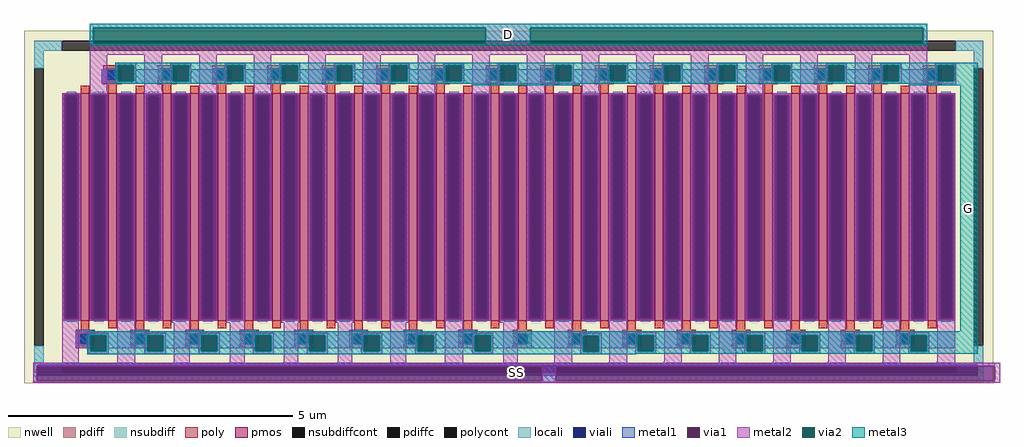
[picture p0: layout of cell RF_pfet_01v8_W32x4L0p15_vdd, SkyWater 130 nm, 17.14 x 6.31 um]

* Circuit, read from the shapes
.subckt RF_pfet_01v8_W32x4L0p15_vdd D G SS
XM1 D G SS SS sky130_fd_pr__pfet_01v8 w=4 l=0.15 m=32
.ends

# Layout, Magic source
magic
tech sky130B
magscale 1 2
<< locali >>
rect 33 -538 3371 -528
rect 33 -572 46 -538
rect 3351 -572 3371 -538
rect 33 -597 3371 -572
<< viali >>
rect 46 -572 3351 -538
<< metal1 >>
rect 321 517 395 526
rect 321 502 330 517
rect 273 461 330 502
rect 386 502 395 517
rect 516 517 584 523
rect 516 502 522 517
rect 386 461 522 502
rect 578 502 584 517
rect 708 517 776 523
rect 708 502 714 517
rect 578 461 714 502
rect 770 502 776 517
rect 900 517 968 523
rect 900 502 906 517
rect 770 461 906 502
rect 962 502 968 517
rect 1092 517 1160 523
rect 1092 502 1098 517
rect 962 461 1098 502
rect 1154 502 1160 517
rect 1284 517 1352 523
rect 1284 502 1290 517
rect 1154 461 1290 502
rect 1346 502 1352 517
rect 1476 517 1544 523
rect 1476 502 1482 517
rect 1346 461 1482 502
rect 1538 502 1544 517
rect 1668 517 1736 523
rect 1668 502 1674 517
rect 1538 461 1674 502
rect 1730 502 1736 517
rect 1857 517 1931 526
rect 1857 502 1866 517
rect 1730 461 1866 502
rect 1922 502 1931 517
rect 2052 517 2120 523
rect 2052 502 2058 517
rect 1922 461 2058 502
rect 2114 502 2120 517
rect 2244 517 2312 523
rect 2244 502 2250 517
rect 2114 461 2250 502
rect 2306 502 2312 517
rect 2436 517 2504 523
rect 2436 502 2442 517
rect 2306 461 2442 502
rect 2498 502 2504 517
rect 2628 517 2696 523
rect 2628 502 2634 517
rect 2498 461 2634 502
rect 2690 502 2696 517
rect 2820 517 2888 523
rect 2820 502 2826 517
rect 2690 461 2826 502
rect 2882 502 2888 517
rect 3012 517 3080 523
rect 3012 502 3018 517
rect 2882 461 3018 502
rect 3074 502 3080 517
rect 3204 517 3272 523
rect 3204 502 3210 517
rect 3074 461 3210 502
rect 3266 461 3272 517
rect 273 452 3229 461
rect 282 451 340 452
rect 474 451 532 452
rect 666 451 724 452
rect 858 451 916 452
rect 1050 451 1108 452
rect 1242 451 1300 452
rect 1434 451 1492 452
rect 1626 451 1684 452
rect 1818 451 1876 452
rect 2010 451 2068 452
rect 2202 451 2260 452
rect 2394 451 2452 452
rect 2586 451 2644 452
rect 2778 451 2836 452
rect 2970 451 3028 452
rect 3162 451 3220 452
rect 135 413 199 419
rect 135 -375 141 413
rect 193 -375 199 413
rect 135 -381 199 -375
rect 231 413 295 419
rect 231 -375 237 413
rect 289 -375 295 413
rect 231 -381 295 -375
rect 327 413 391 419
rect 327 -375 333 413
rect 385 -375 391 413
rect 327 -381 391 -375
rect 423 413 487 419
rect 423 -375 429 413
rect 481 -375 487 413
rect 423 -381 487 -375
rect 519 413 583 419
rect 519 -375 525 413
rect 577 -375 583 413
rect 519 -381 583 -375
rect 615 413 679 419
rect 615 -375 621 413
rect 673 -375 679 413
rect 615 -381 679 -375
rect 711 413 775 419
rect 711 -375 717 413
rect 769 -375 775 413
rect 711 -381 775 -375
rect 807 413 871 419
rect 807 -375 813 413
rect 865 -375 871 413
rect 807 -381 871 -375
rect 903 413 967 419
rect 903 -375 909 413
rect 961 -375 967 413
rect 903 -381 967 -375
rect 999 413 1063 419
rect 999 -375 1005 413
rect 1057 -375 1063 413
rect 999 -381 1063 -375
rect 1095 413 1159 419
rect 1095 -375 1101 413
rect 1153 -375 1159 413
rect 1095 -381 1159 -375
rect 1191 413 1255 419
rect 1191 -375 1197 413
rect 1249 -375 1255 413
rect 1191 -381 1255 -375
rect 1287 413 1351 419
rect 1287 -375 1293 413
rect 1345 -375 1351 413
rect 1287 -381 1351 -375
rect 1383 413 1447 419
rect 1383 -375 1389 413
rect 1441 -375 1447 413
rect 1383 -381 1447 -375
rect 1479 413 1543 419
rect 1479 -375 1485 413
rect 1537 -375 1543 413
rect 1479 -381 1543 -375
rect 1575 413 1639 419
rect 1575 -375 1581 413
rect 1633 -375 1639 413
rect 1575 -381 1639 -375
rect 1671 413 1735 419
rect 1671 -375 1677 413
rect 1729 -375 1735 413
rect 1671 -381 1735 -375
rect 1767 413 1831 419
rect 1767 -375 1773 413
rect 1825 -375 1831 413
rect 1767 -381 1831 -375
rect 1863 413 1927 419
rect 1863 -375 1869 413
rect 1921 -375 1927 413
rect 1863 -381 1927 -375
rect 1959 412 2023 419
rect 1959 -376 1965 412
rect 2017 -376 2023 412
rect 1959 -382 2023 -376
rect 2055 413 2119 419
rect 2055 -375 2061 413
rect 2113 -375 2119 413
rect 2055 -381 2119 -375
rect 2151 413 2215 419
rect 2151 -375 2157 413
rect 2209 -375 2215 413
rect 2151 -381 2215 -375
rect 2247 413 2311 419
rect 2247 -375 2253 413
rect 2305 -375 2311 413
rect 2247 -381 2311 -375
rect 2343 413 2407 419
rect 2343 -375 2349 413
rect 2401 -375 2407 413
rect 2343 -381 2407 -375
rect 2439 413 2503 419
rect 2439 -375 2445 413
rect 2497 -375 2503 413
rect 2439 -381 2503 -375
rect 2534 413 2598 419
rect 2534 -375 2540 413
rect 2592 -375 2598 413
rect 2534 -381 2598 -375
rect 2631 412 2695 419
rect 2631 -376 2637 412
rect 2689 -376 2695 412
rect 2631 -381 2695 -376
rect 2727 413 2791 419
rect 2727 -375 2733 413
rect 2785 -375 2791 413
rect 2727 -381 2791 -375
rect 2823 413 2887 419
rect 2823 -375 2829 413
rect 2881 -375 2887 413
rect 2823 -381 2887 -375
rect 2919 413 2983 419
rect 2919 -375 2925 413
rect 2977 -375 2983 413
rect 2919 -381 2983 -375
rect 3015 413 3079 419
rect 3015 -375 3021 413
rect 3073 -375 3079 413
rect 3015 -381 3079 -375
rect 3111 413 3175 419
rect 3111 -375 3117 413
rect 3169 -375 3175 413
rect 3111 -381 3175 -375
rect 3207 413 3271 419
rect 3207 -375 3213 413
rect 3265 -375 3271 413
rect 3207 -381 3271 -375
rect 186 -418 244 -413
rect 378 -418 436 -413
rect 570 -418 628 -413
rect 762 -418 820 -413
rect 954 -418 1012 -413
rect 1146 -418 1204 -413
rect 1338 -418 1396 -413
rect 1530 -418 1588 -413
rect 2121 -418 3271 -417
rect 182 -432 3271 -418
rect 182 -478 233 -432
rect 223 -488 233 -478
rect 289 -478 433 -432
rect 289 -488 298 -478
rect 423 -488 433 -478
rect 489 -478 623 -432
rect 489 -488 498 -478
rect 613 -488 623 -478
rect 679 -478 813 -432
rect 679 -488 688 -478
rect 803 -488 813 -478
rect 869 -478 1003 -432
rect 869 -488 878 -478
rect 993 -488 1003 -478
rect 1059 -478 1193 -432
rect 1059 -488 1068 -478
rect 1183 -488 1193 -478
rect 1249 -478 1383 -432
rect 1249 -488 1258 -478
rect 1373 -488 1383 -478
rect 1439 -478 1583 -432
rect 1439 -488 1448 -478
rect 1573 -488 1583 -478
rect 1639 -433 2156 -432
rect 1639 -478 1964 -433
rect 1639 -488 1648 -478
rect 224 -497 298 -488
rect 424 -497 498 -488
rect 614 -497 688 -488
rect 804 -497 878 -488
rect 994 -497 1068 -488
rect 1184 -497 1258 -488
rect 1374 -497 1448 -488
rect 1574 -497 1648 -488
rect 1955 -489 1964 -478
rect 2020 -478 2156 -433
rect 2020 -489 2029 -478
rect 1955 -498 2029 -489
rect 2147 -488 2156 -478
rect 2212 -478 2348 -432
rect 2212 -488 2221 -478
rect 2147 -497 2221 -488
rect 2339 -488 2348 -478
rect 2404 -478 2539 -432
rect 2404 -488 2413 -478
rect 2339 -497 2413 -488
rect 2459 -488 2539 -478
rect 2595 -478 2732 -432
rect 2595 -488 2604 -478
rect 2459 -497 2604 -488
rect 2678 -488 2732 -478
rect 2788 -478 2924 -432
rect 2788 -488 2797 -478
rect 2678 -497 2797 -488
rect 2825 -488 2924 -478
rect 2980 -478 3116 -432
rect 2980 -488 2989 -478
rect 2825 -497 2989 -488
rect 3107 -488 3116 -478
rect 3172 -477 3271 -432
rect 3172 -478 3266 -477
rect 3172 -488 3181 -478
rect 3107 -497 3181 -488
rect 33 -538 3411 -528
rect 33 -540 46 -538
rect 3351 -540 3411 -538
rect 33 -592 45 -540
rect 1821 -592 1869 -572
rect 33 -598 3411 -592
<< via1 >>
rect 330 461 386 517
rect 522 461 578 517
rect 714 461 770 517
rect 906 461 962 517
rect 1098 461 1154 517
rect 1290 461 1346 517
rect 1482 461 1538 517
rect 1674 461 1730 517
rect 1866 461 1922 517
rect 2058 461 2114 517
rect 2250 461 2306 517
rect 2442 461 2498 517
rect 2634 461 2690 517
rect 2826 461 2882 517
rect 3018 461 3074 517
rect 3210 461 3266 517
rect 141 -375 193 413
rect 237 -375 289 413
rect 333 -375 385 413
rect 429 -375 481 413
rect 525 -375 577 413
rect 621 -375 673 413
rect 717 -375 769 413
rect 813 -375 865 413
rect 909 -375 961 413
rect 1005 -375 1057 413
rect 1101 -375 1153 413
rect 1197 -375 1249 413
rect 1293 -375 1345 413
rect 1389 -375 1441 413
rect 1485 -375 1537 413
rect 1581 -375 1633 413
rect 1677 -375 1729 413
rect 1773 -375 1825 413
rect 1869 -375 1921 413
rect 1965 -376 2017 412
rect 2061 -375 2113 413
rect 2157 -375 2209 413
rect 2253 -375 2305 413
rect 2349 -375 2401 413
rect 2445 -375 2497 413
rect 2540 -375 2592 413
rect 2637 -376 2689 412
rect 2733 -375 2785 413
rect 2829 -375 2881 413
rect 2925 -375 2977 413
rect 3021 -375 3073 413
rect 3117 -375 3169 413
rect 3213 -375 3265 413
rect 233 -488 289 -432
rect 433 -488 489 -432
rect 623 -488 679 -432
rect 813 -488 869 -432
rect 1003 -488 1059 -432
rect 1193 -488 1249 -432
rect 1383 -488 1439 -432
rect 1583 -488 1639 -432
rect 1964 -489 2020 -433
rect 2156 -488 2212 -432
rect 2348 -488 2404 -432
rect 2539 -488 2595 -432
rect 2732 -488 2788 -432
rect 2924 -488 2980 -432
rect 3116 -488 3172 -432
rect 45 -572 46 -540
rect 46 -572 1821 -540
rect 1869 -572 3351 -540
rect 3351 -572 3411 -540
rect 45 -592 1821 -572
rect 1869 -592 3411 -572
<< metal2 >>
rect 231 648 3173 662
rect 231 592 243 648
rect 1623 592 1779 648
rect 3159 592 3173 648
rect 231 554 3173 592
rect 231 424 293 554
rect 321 517 395 526
rect 321 461 330 517
rect 386 461 395 517
rect 321 452 395 461
rect 423 424 485 554
rect 513 517 587 526
rect 513 461 522 517
rect 578 461 587 517
rect 513 452 587 461
rect 615 424 677 554
rect 705 517 779 526
rect 705 461 714 517
rect 770 461 779 517
rect 705 452 779 461
rect 807 424 869 554
rect 897 517 971 526
rect 897 461 906 517
rect 962 461 971 517
rect 897 452 971 461
rect 999 424 1061 554
rect 1089 517 1163 526
rect 1089 461 1098 517
rect 1154 461 1163 517
rect 1089 452 1163 461
rect 1191 424 1253 554
rect 1281 517 1355 526
rect 1281 461 1290 517
rect 1346 461 1355 517
rect 1281 452 1355 461
rect 1383 424 1445 554
rect 1473 517 1547 526
rect 1473 461 1482 517
rect 1538 461 1547 517
rect 1473 452 1547 461
rect 135 413 199 419
rect 135 -375 141 413
rect 193 -375 199 413
rect 135 -381 199 -375
rect 231 413 295 424
rect 231 -375 237 413
rect 289 -375 295 413
rect 231 -381 295 -375
rect 327 413 391 419
rect 327 -375 333 413
rect 385 -375 391 413
rect 135 -528 193 -381
rect 224 -432 298 -423
rect 224 -488 233 -432
rect 289 -488 298 -432
rect 224 -497 298 -488
rect 327 -528 391 -375
rect 423 413 487 424
rect 423 -375 429 413
rect 481 -375 487 413
rect 423 -381 487 -375
rect 519 413 583 419
rect 519 -375 525 413
rect 577 -375 583 413
rect 519 -388 583 -375
rect 615 413 679 424
rect 615 -375 621 413
rect 673 -375 679 413
rect 615 -381 679 -375
rect 711 413 775 419
rect 711 -375 717 413
rect 769 -375 775 413
rect 711 -388 775 -375
rect 807 413 871 424
rect 807 -375 813 413
rect 865 -375 871 413
rect 807 -381 871 -375
rect 903 413 967 419
rect 903 -375 909 413
rect 961 -375 967 413
rect 903 -388 967 -375
rect 999 413 1063 424
rect 999 -375 1005 413
rect 1057 -375 1063 413
rect 999 -381 1063 -375
rect 1095 413 1159 419
rect 1095 -375 1101 413
rect 1153 -375 1159 413
rect 1095 -388 1159 -375
rect 1191 413 1255 424
rect 1191 -375 1197 413
rect 1249 -375 1255 413
rect 1191 -381 1255 -375
rect 1287 413 1351 419
rect 1287 -375 1293 413
rect 1345 -375 1351 413
rect 1287 -388 1351 -375
rect 1383 413 1447 424
rect 1575 419 1637 554
rect 1665 517 1739 526
rect 1665 461 1674 517
rect 1730 461 1739 517
rect 1665 452 1739 461
rect 1767 424 1829 554
rect 1857 517 1931 526
rect 1857 461 1866 517
rect 1922 461 1931 517
rect 1857 452 1931 461
rect 1959 424 2021 554
rect 2049 517 2123 526
rect 2049 461 2058 517
rect 2114 461 2123 517
rect 2049 452 2123 461
rect 2151 424 2213 554
rect 2241 517 2315 526
rect 2241 461 2250 517
rect 2306 461 2315 517
rect 2241 452 2315 461
rect 2343 424 2405 554
rect 2433 517 2507 526
rect 2433 461 2442 517
rect 2498 461 2507 517
rect 2433 452 2507 461
rect 2535 424 2597 554
rect 2625 517 2699 526
rect 2625 461 2634 517
rect 2690 461 2699 517
rect 2625 452 2699 461
rect 2727 424 2789 554
rect 2817 517 2891 526
rect 2817 461 2826 517
rect 2882 461 2891 517
rect 2817 452 2891 461
rect 2919 424 2981 554
rect 3009 517 3083 526
rect 3009 461 3018 517
rect 3074 461 3083 517
rect 3009 452 3083 461
rect 1383 -375 1389 413
rect 1441 -375 1447 413
rect 1383 -381 1447 -375
rect 1479 413 1543 419
rect 1479 -375 1485 413
rect 1537 -375 1543 413
rect 424 -432 498 -423
rect 424 -488 433 -432
rect 489 -488 498 -432
rect 424 -497 498 -488
rect 526 -528 583 -388
rect 614 -432 688 -423
rect 614 -488 623 -432
rect 679 -488 688 -432
rect 614 -497 688 -488
rect 723 -528 775 -388
rect 804 -432 878 -423
rect 804 -488 813 -432
rect 869 -488 878 -432
rect 804 -497 878 -488
rect 913 -528 963 -388
rect 994 -432 1068 -423
rect 994 -488 1003 -432
rect 1059 -488 1068 -432
rect 994 -497 1068 -488
rect 1103 -528 1153 -388
rect 1184 -432 1258 -423
rect 1184 -488 1193 -432
rect 1249 -488 1258 -432
rect 1184 -497 1258 -488
rect 1287 -528 1343 -388
rect 1374 -432 1448 -423
rect 1374 -488 1383 -432
rect 1439 -488 1448 -432
rect 1374 -497 1448 -488
rect 1479 -528 1543 -375
rect 1575 413 1639 419
rect 1575 -375 1581 413
rect 1633 -375 1639 413
rect 1575 -381 1639 -375
rect 1671 413 1735 419
rect 1671 -375 1677 413
rect 1729 -375 1735 413
rect 1671 -388 1735 -375
rect 1767 413 1831 424
rect 1767 -375 1773 413
rect 1825 -375 1831 413
rect 1767 -381 1831 -375
rect 1863 413 1927 419
rect 1863 -375 1869 413
rect 1921 -375 1927 413
rect 1574 -432 1648 -423
rect 1574 -488 1583 -432
rect 1639 -488 1648 -432
rect 1574 -497 1648 -488
rect 1683 -528 1735 -388
rect 1863 -528 1927 -375
rect 1959 412 2023 424
rect 1959 -376 1965 412
rect 2017 -376 2023 412
rect 1959 -382 2023 -376
rect 2055 413 2119 419
rect 2055 -375 2061 413
rect 2113 -375 2119 413
rect 2055 -395 2119 -375
rect 2151 413 2215 424
rect 2151 -375 2157 413
rect 2209 -375 2215 413
rect 2151 -381 2215 -375
rect 2247 413 2311 419
rect 2247 -375 2253 413
rect 2305 -375 2311 413
rect 2247 -394 2311 -375
rect 2343 413 2407 424
rect 2535 419 2598 424
rect 2343 -375 2349 413
rect 2401 -375 2407 413
rect 2343 -381 2407 -375
rect 2439 413 2503 419
rect 2439 -375 2445 413
rect 2497 -375 2503 413
rect 2439 -394 2503 -375
rect 2534 413 2598 419
rect 2534 -375 2540 413
rect 2592 -375 2598 413
rect 2534 -381 2598 -375
rect 2631 412 2695 419
rect 2631 -376 2637 412
rect 2689 -376 2695 412
rect 2631 -381 2695 -376
rect 2727 413 2791 424
rect 2727 -375 2733 413
rect 2785 -375 2791 413
rect 2727 -381 2791 -375
rect 2823 413 2887 419
rect 2823 -375 2829 413
rect 2881 -375 2887 413
rect 2631 -394 2694 -381
rect 2823 -394 2887 -375
rect 2919 413 2983 424
rect 3111 419 3173 554
rect 3201 517 3275 526
rect 3201 461 3210 517
rect 3266 461 3275 517
rect 3201 452 3275 461
rect 2919 -375 2925 413
rect 2977 -375 2983 413
rect 2919 -381 2983 -375
rect 3015 413 3079 419
rect 3015 -375 3021 413
rect 3073 -375 3079 413
rect 3015 -394 3079 -375
rect 3111 413 3175 419
rect 3111 -375 3117 413
rect 3169 -375 3175 413
rect 3111 -381 3175 -375
rect 3207 413 3271 419
rect 3207 -375 3213 413
rect 3265 -375 3271 413
rect 3207 -394 3271 -375
rect 1955 -433 2029 -423
rect 1955 -489 1964 -433
rect 2020 -489 2029 -433
rect 1955 -498 2029 -489
rect 2057 -526 2119 -395
rect 2147 -432 2221 -422
rect 2147 -488 2156 -432
rect 2212 -488 2221 -432
rect 2147 -497 2221 -488
rect 2249 -525 2311 -394
rect 2339 -432 2413 -422
rect 2339 -488 2348 -432
rect 2404 -488 2413 -432
rect 2339 -497 2413 -488
rect 2055 -528 2119 -526
rect 2247 -528 2311 -525
rect 2441 -528 2502 -394
rect 2530 -432 2604 -422
rect 2530 -488 2539 -432
rect 2595 -488 2604 -432
rect 2530 -497 2604 -488
rect 2632 -525 2694 -394
rect 2723 -432 2797 -422
rect 2723 -488 2732 -432
rect 2788 -488 2797 -432
rect 2723 -497 2797 -488
rect 2825 -525 2887 -394
rect 2915 -432 2989 -422
rect 2915 -488 2924 -432
rect 2980 -488 2989 -432
rect 2915 -497 2989 -488
rect 3017 -525 3079 -394
rect 3107 -432 3181 -422
rect 3107 -488 3116 -432
rect 3172 -488 3181 -432
rect 3107 -497 3181 -488
rect 3209 -525 3271 -394
rect 2630 -528 2694 -525
rect 2823 -528 2887 -525
rect 3015 -528 3079 -525
rect 3207 -528 3271 -525
rect 33 -540 3429 -528
rect 33 -592 45 -540
rect 1821 -592 1869 -540
rect 3411 -592 3429 -540
rect 33 -598 3429 -592
<< via2 >>
rect 243 592 1623 648
rect 1779 592 3159 648
rect 330 461 386 517
rect 522 461 578 517
rect 714 461 770 517
rect 906 461 962 517
rect 1098 461 1154 517
rect 1290 461 1346 517
rect 1482 461 1538 517
rect 233 -488 289 -432
rect 1674 461 1730 517
rect 1866 461 1922 517
rect 2058 461 2114 517
rect 2250 461 2306 517
rect 2442 461 2498 517
rect 2634 461 2690 517
rect 2826 461 2882 517
rect 3018 461 3074 517
rect 433 -488 489 -432
rect 623 -488 679 -432
rect 813 -488 869 -432
rect 1003 -488 1059 -432
rect 1193 -488 1249 -432
rect 1383 -488 1439 -432
rect 1583 -488 1639 -432
rect 3210 461 3266 517
rect 1964 -489 2020 -433
rect 2156 -488 2212 -432
rect 2348 -488 2404 -432
rect 2539 -488 2595 -432
rect 2732 -488 2788 -432
rect 2924 -488 2980 -432
rect 3116 -488 3172 -432
<< metal3 >>
rect 231 648 3173 662
rect 231 592 243 648
rect 1623 592 1779 648
rect 3159 592 3173 648
rect 231 587 3173 592
rect 321 517 3350 526
rect 321 461 330 517
rect 386 461 522 517
rect 578 461 714 517
rect 770 461 906 517
rect 962 461 1098 517
rect 1154 461 1290 517
rect 1346 461 1482 517
rect 1538 461 1674 517
rect 1730 461 1866 517
rect 1922 461 2058 517
rect 2114 461 2250 517
rect 2306 461 2442 517
rect 2498 461 2634 517
rect 2690 461 2826 517
rect 2882 461 3018 517
rect 3074 461 3210 517
rect 3266 461 3350 517
rect 321 452 3350 461
rect 1573 446 1952 452
rect 3109 446 3350 452
rect 3289 -417 3350 446
rect 2121 -418 3350 -417
rect 223 -432 3350 -418
rect 223 -488 233 -432
rect 289 -488 433 -432
rect 489 -488 623 -432
rect 679 -488 813 -432
rect 869 -488 1003 -432
rect 1059 -488 1193 -432
rect 1249 -488 1383 -432
rect 1439 -488 1583 -432
rect 1639 -433 2156 -432
rect 1639 -488 1964 -433
rect 223 -489 1964 -488
rect 2020 -488 2156 -433
rect 2212 -488 2348 -432
rect 2404 -488 2539 -432
rect 2595 -488 2732 -432
rect 2788 -488 2924 -432
rect 2980 -488 3116 -432
rect 3172 -488 3350 -432
rect 2020 -489 3350 -488
rect 223 -497 3350 -489
rect 223 -498 2151 -497
use sky130_fd_pr__pfet_01v8_8D9A6L  sky130_fd_pr__pfet_01v8_8D9A6L_0
transform 1 0 1703 0 1 19
box -1703 -619 1703 619
<< labels >>
rlabel metal3 231 587 3173 662 1 D
rlabel metal3 3289 -497 3350 526 1 G
rlabel metal2 33 -598 3429 -528 1 SS
<< end >>

# cell sky130_fd_pr__pfet_01v8_8D9A6L: kit device sky130_fd_pr__pfet_01v8, w 4 l 0.15 m 1 nf 32 diffcov 100 polycov 100 guard 1 glc 1 grc 1 gtc 1 gbc 1 tbcov 100 rlcov 100 topc 1 botc 1 poverlap 0 doverlap 1 lmin 0.15 wmin 0.42 compatible {sky130_fd_pr__pfet_01v8 sky130_fd_pr__pfet_01v8_lvt sky130_fd_pr__pfet_01v8_hvt sky130_fd_pr__pfet_g5v0d10v5} full_metal 1 viasrc 100 viadrn 100 viagate 100 viagb 0 viagr 0 viagl 0 viagt 0
